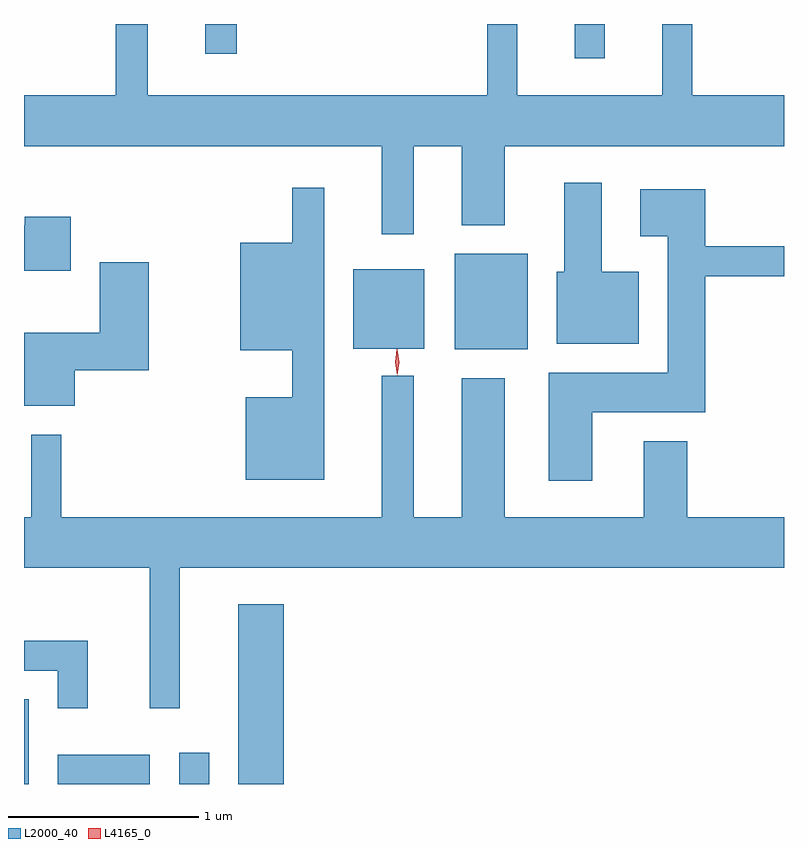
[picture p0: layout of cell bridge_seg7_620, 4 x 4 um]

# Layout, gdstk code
import gdstk
lib = gdstk.Library(unit=1e-6, precision=1e-09)
def R(c, l, rs):  # rectangles x0, y0, x1, y1
    for r in rs: c.add(gdstk.rectangle(r[:2], r[2:], *l))
def P(c, l, *ps):  # polygons
    for p in ps: c.add(gdstk.Polygon(p, *l))
L2000_40 = (2000, 40)
L4165_0 = (4165, 0)

bridge_seg7_620 = lib.new_cell('bridge_seg7_620')
R(bridge_seg7_620, L2000_40, [(817.968,1704.299,817.994,1704.744), (818.146,1704.299,818.629,1704.454), (818.786,1704.299,818.944,1704.463), (819.096,1704.299,819.334,1705.244), (820.236,1706.586,820.619,1707.089), (819.701,1706.591,820.074,1707.009), (820.866,1708.118,821.024,1708.299), (818.921,1708.143,819.089,1708.299)])
P(bridge_seg7_620, L2000_40, [(820.019,1707.656),(820.271,1707.656),(820.271,1707.241),(820.499,1707.241),(820.499,1707.656),(821.968,1707.656),(821.968,1707.924),(821.484,1707.924),(821.484,1708.299),(821.326,1708.299),(821.326,1707.924),(820.564,1707.924),(820.564,1708.299),(820.406,1708.299),(820.406,1707.924),(818.619,1707.924),(818.619,1708.299),(818.451,1708.299),(818.451,1707.924),(817.968,1707.924),(817.968,1707.656),(819.851,1707.656),(819.851,1707.193),(820.019,1707.193)],
  [(821.204,1706.994),(821.009,1706.994),(821.009,1707.464),(820.811,1707.464),(820.811,1706.994),(820.771,1706.994),(820.771,1706.616),(821.204,1706.616)],
  [(819.549,1707.438),(819.381,1707.438),(819.381,1707.149),(819.106,1707.149),(819.106,1706.581),(819.381,1706.581),(819.381,1706.334),(819.136,1706.334),(819.136,1705.901),(819.549,1705.901)],
  [(820.959,1706.256),(821.554,1706.256),(821.554,1706.971),(821.968,1706.971),(821.968,1707.129),(821.554,1707.129),(821.554,1707.429),(821.211,1707.429),(821.211,1707.181),(821.356,1707.181),(821.356,1706.464),(820.731,1706.464),(820.731,1705.896),(820.959,1705.896)],
  [(818.214,1707.284),(817.971,1707.284),(817.971,1707.239),(817.968,1707.239),(817.968,1707.001),(818.214,1707.001)],
  [(818.234,1706.476),(818.624,1706.476),(818.624,1707.044),(818.366,1707.044),(818.366,1706.674),(817.968,1706.674),(817.968,1706.291),(818.234,1706.291)],
  [(818.789,1705.436),(821.968,1705.436),(821.968,1705.704),(821.459,1705.704),(821.459,1706.104),(821.231,1706.104),(821.231,1705.704),(820.499,1705.704),(820.499,1706.434),(820.271,1706.434),(820.271,1705.704),(820.019,1705.704),(820.019,1706.448),(819.851,1706.448),(819.851,1705.704),(818.164,1705.704),(818.164,1706.138),(818.006,1706.138),(818.006,1705.704),(817.968,1705.704),(817.968,1705.436),(818.631,1705.436),(818.631,1704.698),(818.789,1704.698)],
  [(818.304,1705.054),(817.968,1705.054),(817.968,1704.896),(818.146,1704.896),(818.146,1704.698),(818.304,1704.698)])
P(bridge_seg7_620, L4165_0, [(819.932,1706.45),(819.922,1706.518),(819.931,1706.586),(819.932,1706.586),(819.932,1706.586),(819.942,1706.518),(819.933,1706.45),(819.933,1706.45)],
  [(819.932,1706.453),(819.922,1706.517),(819.931,1706.581),(819.932,1706.582),(819.932,1706.581),(819.942,1706.517),(819.933,1706.453),(819.933,1706.453)])

lib.write_gds('bridge_seg7_620.gds')
